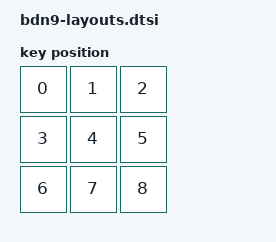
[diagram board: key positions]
#include <physical_layouts.dtsi>

/ {
    physical_layout0: physical_layout_0 {
        compatible = "zmk,physical-layout";
        display-name = "BDN9";

        keys  //                     w   h    x    y     rot    rx    ry
            = <&key_physical_attrs 100 100    0    0       0     0     0>
            , <&key_physical_attrs 100 100  100    0       0     0     0>
            , <&key_physical_attrs 100 100  200    0       0     0     0>
            , <&key_physical_attrs 100 100    0  100       0     0     0>
            , <&key_physical_attrs 100 100  100  100       0     0     0>
            , <&key_physical_attrs 100 100  200  100       0     0     0>
            , <&key_physical_attrs 100 100    0  200       0     0     0>
            , <&key_physical_attrs 100 100  100  200       0     0     0>
            , <&key_physical_attrs 100 100  200  200       0     0     0>
            ;
    };
};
